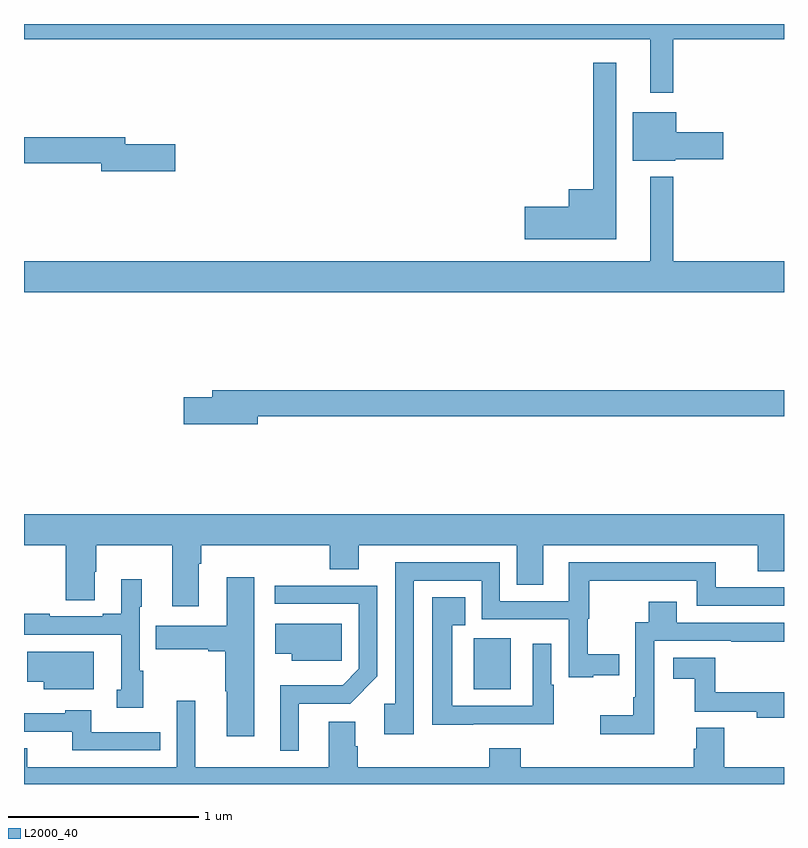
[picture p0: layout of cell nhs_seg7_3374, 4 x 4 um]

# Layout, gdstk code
import gdstk
lib = gdstk.Library(unit=1e-6, precision=1e-09)
def R(c, l, rs):  # rectangles x0, y0, x1, y1
    for r in rs: c.add(gdstk.rectangle(r[:2], r[2:], *l))
def P(c, l, *ps):  # polygons
    for p in ps: c.add(gdstk.Polygon(p, *l))
L2000_40 = (2000, 40)

nhs_seg7_3374 = lib.new_cell('nhs_seg7_3374')
R(nhs_seg7_3374, L2000_40, [(327.368,1026.5,327.562,1026.768)])
P(nhs_seg7_3374, L2000_40, [(328.417,1029.92),(329,1029.92),(329,1030),(325,1030),(325,1029.92),(328.295,1029.92),(328.295,1029.639),(328.417,1029.639)],
  [(328.117,1029.796),(327.996,1029.796),(327.996,1029.13),(327.866,1029.13),(327.866,1029.038),(327.636,1029.038),(327.636,1028.867),(328.117,1028.867)],
  [(328.428,1029.287),(328.681,1029.287),(328.681,1029.429),(328.432,1029.429),(328.432,1029.535),(328.205,1029.535),(328.205,1029.281),(328.428,1029.281)],
  [(325.795,1029.368),(325.534,1029.368),(325.534,1029.404),(325,1029.404),(325,1029.268),(325.406,1029.268),(325.406,1029.226),(325.795,1029.226)],
  [(329,1028.752),(328.417,1028.752),(328.417,1029.196),(328.295,1029.196),(328.295,1028.752),(325,1028.752),(325,1028.588),(329,1028.588)],
  [(326.23,1027.936),(329,1027.936),(329,1028.072),(325.991,1028.072),(325.991,1028.036),(325.842,1028.036),(325.842,1027.894),(326.23,1027.894)],
  [(325.921,1027.16),(325.934,1027.16),(325.934,1027.256),(326.609,1027.256),(326.609,1027.129),(326.761,1027.129),(326.761,1027.256),(327.593,1027.256),(327.593,1027.048),(327.733,1027.048),(327.733,1027.256),(328.862,1027.256),(328.862,1027.12),(329,1027.12),(329,1027.42),(325,1027.42),(325,1027.256),(325.22,1027.256),(325.22,1026.967),(325.372,1026.967),(325.372,1027.118),(325.38,1027.118),(325.38,1027.256),(325.781,1027.256),(325.781,1026.936),(325.921,1026.936)],
  [(327.051,1027.071),(327.408,1027.071),(327.408,1026.867),(327.867,1026.867),(327.867,1026.561),(327.995,1026.561),(327.995,1026.572),(328.132,1026.572),(328.132,1026.682),(327.966,1026.682),(327.966,1026.87),(327.976,1026.87),(327.976,1027.069),(328.199,1027.069),(328.199,1027.071),(328.542,1027.071),(328.542,1026.939),(329,1026.939),(329,1027.035),(328.641,1027.035),(328.641,1027.167),(327.866,1027.167),(327.866,1026.963),(327.504,1026.963),(327.504,1027.167),(326.955,1027.167),(326.955,1026.422),(326.895,1026.422),(326.895,1026.261),(327.051,1026.261)],
  [(326.212,1027.087),(326.066,1027.087),(326.066,1026.832),(325.693,1026.832),(325.693,1026.71),(325.97,1026.71),(325.97,1026.698),(326.059,1026.698),(326.059,1026.489),(326.066,1026.489),(326.066,1026.252),(326.212,1026.252)],
  [(325.627,1026.595),(325.608,1026.595),(325.608,1026.933),(325.621,1026.933),(325.621,1027.078),(325.511,1027.078),(325.511,1026.895),(325.415,1026.895),(325.415,1026.882),(325.136,1026.882),(325.136,1026.895),(325,1026.895),(325,1026.786),(325.511,1026.786),(325.511,1026.495),(325.487,1026.495),(325.487,1026.401),(325.627,1026.401)],
  [(326.446,1026.423),(326.716,1026.423),(326.859,1026.566),(326.859,1027.044),(326.319,1027.044),(326.319,1026.948),(326.763,1026.948),(326.763,1026.606),(326.677,1026.52),(326.348,1026.52),(326.348,1026.174),(326.446,1026.174)],
  [(327.365,1026.315),(327.787,1026.315),(327.787,1026.522),(327.774,1026.522),(327.774,1026.739),(327.678,1026.739),(327.678,1026.411),(327.253,1026.411),(327.253,1026.836),(327.323,1026.836),(327.323,1026.982),(327.149,1026.982),(327.149,1026.313),(327.365,1026.313)],
  [(328.316,1026.753),(328.723,1026.753),(328.723,1026.748),(329,1026.748),(329,1026.849),(328.435,1026.849),(328.435,1026.958),(328.288,1026.958),(328.288,1026.852),(328.218,1026.852),(328.218,1026.457),(328.206,1026.457),(328.206,1026.362),(328.032,1026.362),(328.032,1026.263),(328.316,1026.263)],
  [(326.673,1026.844),(326.322,1026.844),(326.322,1026.686),(326.408,1026.686),(326.408,1026.65),(326.673,1026.65)],
  [(325.366,1026.697),(325.018,1026.697),(325.018,1026.539),(325.103,1026.539),(325.103,1026.5),(325.366,1026.5)],
  [(329,1026.482),(328.639,1026.482),(328.639,1026.664),(328.416,1026.664),(328.416,1026.554),(328.529,1026.554),(328.529,1026.381),(328.856,1026.381),(328.856,1026.35),(329,1026.35)],
  [(329,1026.088),(328.686,1026.088),(328.686,1026.296),(328.538,1026.296),(328.538,1026.186),(328.526,1026.186),(328.526,1026.088),(327.614,1026.088),(327.614,1026.187),(327.449,1026.187),(327.449,1026.088),(326.756,1026.088),(326.756,1026.2),(326.743,1026.2),(326.743,1026.328),(326.603,1026.328),(326.603,1026.088),(325.9,1026.088),(325.9,1026.439),(325.803,1026.439),(325.803,1026.088),(325.018,1026.088),(325.018,1026.187),(325,1026.187),(325,1026),(329,1026)],
  [(325.718,1026.273),(325.354,1026.273),(325.354,1026.388),(325.218,1026.388),(325.218,1026.372),(325,1026.372),(325,1026.276),(325.255,1026.276),(325.255,1026.177),(325.718,1026.177)])

lib.write_gds('nhs_seg7_3374.gds')
